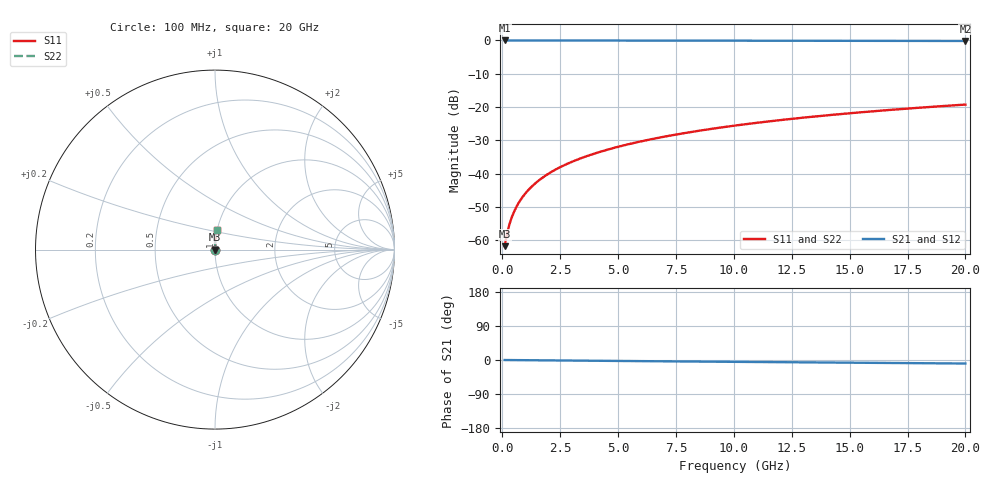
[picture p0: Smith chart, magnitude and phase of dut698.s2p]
! Touchstone file exported from HFSS 2024.1.0
!  File:  C:/UserFiles/LocalFiles/RDL_TSV_Batchsim/temp_RDL_top_698_1779783077.aedt
!  Generated:  04:13:33 PM May 26, 2026
!  Design:  RDL_top
!  Project:  temp_RDL_top_698_1779783077
!  Setup:  Setup1
!  Solution:  Sweep
! Variables:
!  dtsv = 10.80580581um
!  hbump = 3um
!  htsv = 99.96um
!  ldown = 100um
!  lrdl = 104.33um
!  p = 40
!  p1 = 45.31um
!  rhole = 1um
!  t = 450um
!  tdown = 3.915915916um
!  trdl = 4.32um
!  wdown = 15.38538539um
!  wrdl = 19.65um
# GHz S MA R 50.000000
! Terminal data exported
! Port[1] = Box2_T1
! Port[2] = Box2_T2
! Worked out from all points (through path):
!   200 points, 100 MHz to 20 GHz, reference 50 ohm
!   highest |S21| = -0.01 dB at 100 MHz (marker M1); lowest = -0.2 dB at 20 GHz (marker M2)
!   group delay of S21, straight-line fit = 1.28 ps
!   lowest |S11| = -61.8 dB at 100 MHz (marker M3), VSWR 1.00, Z = 50.1 + j0.0535 ohm
!   |S11| at or under -10 dB: start of sweep to end of sweep
!   |S22| runs from -61.8 to -19.3 dB; largest |S21 - S12| = 2.1e-15
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0.1  0.0008087 41.3  0.9994 -0.1  0.9994 -0.1  0.0008087 41.3
! Gamma 0 0 0 0
! Port Impedance 50 0 50 0
0.2  0.001227 58.9  0.9994 -0.1  0.9994 -0.1  0.001227 58.9
0.3  0.001686 67.0  0.9993 -0.2  0.9993 -0.2  0.001686 67.0
0.4  0.002154 71.7  0.9993 -0.2  0.9993 -0.2  0.002154 71.7
0.5  0.002626 74.8  0.9993 -0.3  0.9993 -0.3  0.002626 74.8
0.6  0.003103 77.0  0.9992 -0.3  0.9992 -0.3  0.003103 77.0
0.8  0.004065 80.0  0.9992 -0.4  0.9992 -0.4  0.004065 80.0
1.1  0.005524 82.7  0.9991 -0.6  0.9991 -0.6  0.005524 82.7
1.5  0.007488 84.7  0.999 -0.8  0.999 -0.8  0.007488 84.7
1.8  0.00897 85.7  0.9988 -0.9  0.9988 -0.9  0.00897 85.7
2.1  0.01046 86.4  0.9987 -1.1  0.9987 -1.1  0.01046 86.4
2.7  0.01345 87.4  0.9983 -1.4  0.9983 -1.4  0.01345 87.4
3.5  0.01749 88.2  0.9978 -1.8  0.9978 -1.8  0.01749 88.2
4.2  0.02106 88.6  0.9972 -2.1  0.9972 -2.1  0.02106 88.6
5  0.0252 88.9  0.9965 -2.5  0.9965 -2.5  0.0252 88.9
5.9  0.02992 89.1  0.9956 -3.0  0.9956 -3.0  0.02992 89.1
6.8  0.03472 89.2  0.9947 -3.4  0.9947 -3.4  0.03472 89.2
8.4  0.0434 89.1  0.993 -4.2  0.993 -4.2  0.0434 89.1
10.1  0.05281 88.7  0.9913 -4.9  0.9913 -4.9  0.05281 88.7
13.4  0.07138 87.4  0.9881 -6.4  0.9881 -6.4  0.07138 87.4
16.7  0.09007 85.8  0.9849 -7.9  0.9849 -7.9  0.09007 85.8
20  0.1087 84.1  0.9818 -9.3  0.9818 -9.3  0.1087 84.1
